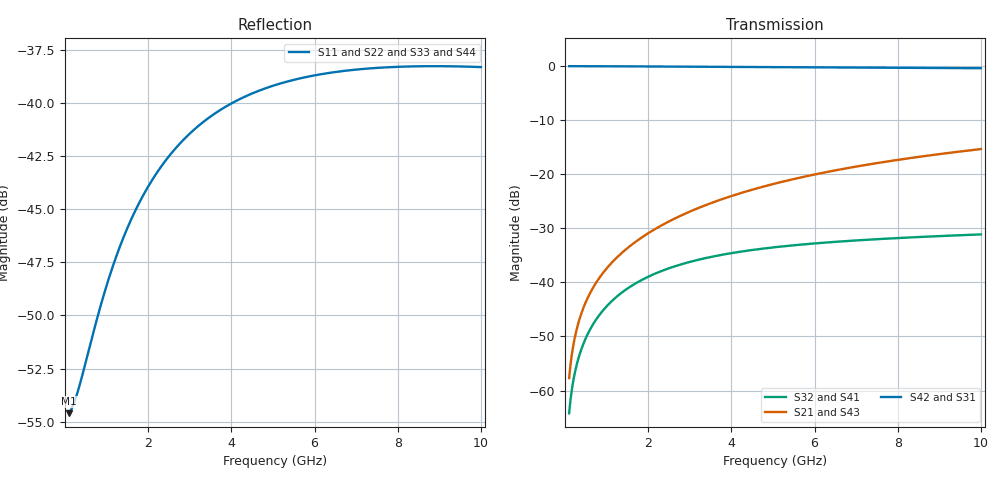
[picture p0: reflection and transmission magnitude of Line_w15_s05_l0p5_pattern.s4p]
! TOUCHSTONE file generated by CST MICROWAVE STUDIO
! Date and time: Thu Oct 23 10:02:37 2014
! Project name: Untitled_0.cst
# GHZ S MA R 50
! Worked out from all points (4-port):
!   1001 points, 100 MHz to 10 GHz, reference 50 ohm
!   strongest paths, dB at 100 MHz, 2.575 GHz, 5.05 GHz, 7.525 GHz, 10 GHz:
!     S42: 0.0, -0.1, -0.2, -0.3, -0.4
!     S31: 0.0, -0.1, -0.2, -0.3, -0.4
!     S21: -57.7, -28.4, -21.7, -17.9, -15.3
!     S43: -57.7, -28.4, -21.7, -17.9, -15.3
!     S32: -64.2, -37.2, -33.5, -32.0, -31.1
!     S41: -64.2, -37.2, -33.5, -32.0, -31.1
!   lowest |S11| = -54.6 dB at 100 MHz (marker M1), VSWR 1.00, Z = 50.2 - j0.0319 ohm
!   |S11| at or under -10 dB: start of sweep to end of sweep
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0.1  0.00186 -9.8  0.001304 90.4  0.9981 -0.2  0.0006158 -91.3
     0.001304 90.4  0.001859 -9.7  0.0006158 -91.3  0.9981 -0.2
     0.9981 -0.2  0.0006158 -91.3  0.001859 -9.9  0.001304 90.4
     0.0006158 -91.3  0.9981 -0.2  0.001304 90.4  0.001859 -9.7
0.3376  0.00214 -31.6  0.004413 91.3  0.9978 -0.8  0.002066 -94.3
        0.004413 91.3  0.002133 -31.2  0.002066 -94.3  0.9978 -0.8
        0.9978 -0.8  0.002066 -94.3  0.002141 -31.6  0.004413 91.3
        0.002066 -94.3  0.9978 -0.8  0.004413 91.3  0.002133 -31.2
0.7138  0.00296 -57.5  0.009454 92.6  0.997 -1.7  0.004324 -98.8
        0.009454 92.6  0.002935 -57.2  0.004324 -98.8  0.997 -1.7
        0.997 -1.7  0.004324 -98.8  0.002961 -57.5  0.009454 92.6
        0.004324 -98.8  0.997 -1.7  0.009454 92.6  0.002936 -57.2
1.3177  0.004587 -83.3  0.01801 93.9  0.995 -3.0  0.007781 -105.9
        0.01801 93.9  0.00453 -83.1  0.007781 -105.9  0.995 -3.0
        0.995 -3.0  0.007781 -105.9  0.004588 -83.3  0.01801 93.9
        0.007781 -105.9  0.995 -3.0  0.01801 93.9  0.004532 -83.1
2.1889  0.006811 -106.3  0.03148 94.3  0.9913 -4.9  0.01215 -115.3
        0.03148 94.3  0.006717 -106.4  0.01215 -115.3  0.9913 -4.9
        0.9913 -4.9  0.01215 -115.3  0.006812 -106.2  0.03148 94.3
        0.01215 -115.3  0.9913 -4.9  0.03148 94.3  0.006718 -106.3
5.2084  0.01116 -150.8  0.0849 88.8  0.9767 -11.0  0.02147 -137.7
        0.0849 88.8  0.011 -151.5  0.02148 -137.7  0.9768 -11.0
        0.9767 -11.0  0.02148 -137.7  0.01114 -150.6  0.08488 88.8
        0.02147 -137.7  0.9768 -11.0  0.08488 88.8  0.01099 -151.3
10  0.01217 171.8  0.1709 76.9  0.9556 -20.0  0.02777 -154.5
    0.1709 76.9  0.01203 170.4  0.02778 -154.6  0.9556 -20.0
    0.9556 -20.0  0.02778 -154.6  0.01207 172.3  0.1708 76.9
    0.02777 -154.5  0.9556 -20.0  0.1708 76.9  0.01198 170.8
